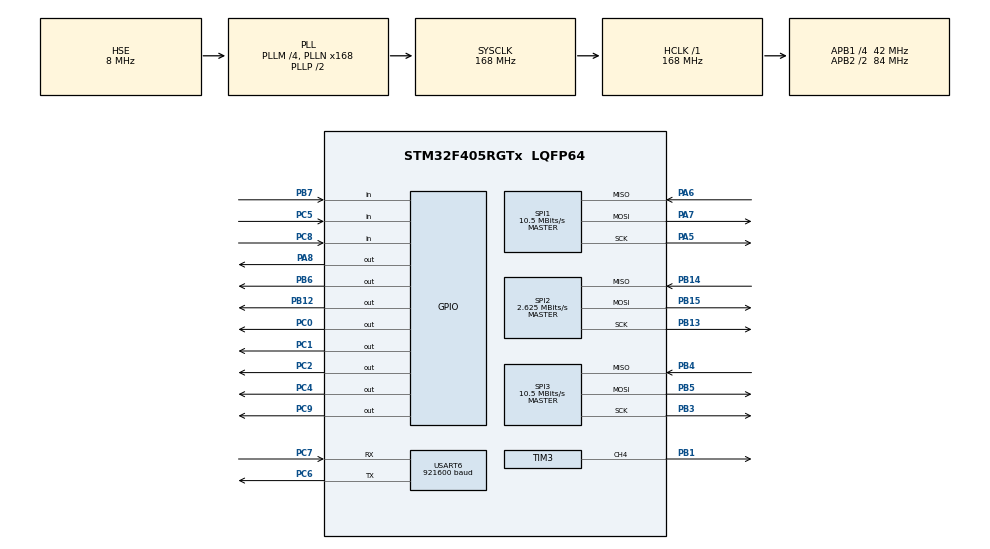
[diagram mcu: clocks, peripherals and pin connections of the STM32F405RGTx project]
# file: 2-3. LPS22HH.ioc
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Mcu.Family=STM32F4
Mcu.Name=STM32F405RGTx
Mcu.Package=LQFP64
NVIC.PriorityGroup=NVIC_PRIORITYGROUP_4
NVIC.USART6_IRQn=true\:0\:0\:false\:false\:true\:true\:true
PA5.Mode=Full_Duplex_Master
PA5.Signal=SPI1_SCK
PA6.Mode=Full_Duplex_Master
PA6.Signal=SPI1_MISO
PA7.Mode=Full_Duplex_Master
PA7.Signal=SPI1_MOSI
PA8.Signal=GPIO_Output
PB1.Signal=S_TIM3_CH4
PB12.Signal=GPIO_Output
PB13.Mode=Full_Duplex_Master
PB13.Signal=SPI2_SCK
PB14.Mode=Full_Duplex_Master
PB14.Signal=SPI2_MISO
PB15.Mode=Full_Duplex_Master
PB15.Signal=SPI2_MOSI
PB3.Mode=Full_Duplex_Master
PB3.Signal=SPI3_SCK
PB4.Mode=Full_Duplex_Master
PB4.Signal=SPI3_MISO
PB5.Mode=Full_Duplex_Master
PB5.Signal=SPI3_MOSI
PB6.Signal=GPIO_Output
PB7.Signal=GPIO_Input
PC0.Signal=GPIO_Output
PC1.Signal=GPIO_Output
PC2.Signal=GPIO_Output
PC4.Signal=GPIO_Output
PC5.Signal=GPIO_Input
PC6.Mode=Asynchronous
PC6.Signal=USART6_TX
PC7.Mode=Asynchronous
PC7.Signal=USART6_RX
PC8.Signal=GPIO_Input
PC9.Signal=GPIO_Output
PH0-OSC_IN.Mode=HSE-External-Oscillator
PH0-OSC_IN.Signal=RCC_OSC_IN
PH1-OSC_OUT.Mode=HSE-External-Oscillator
PH1-OSC_OUT.Signal=RCC_OSC_OUT
ProjectManager.HeapSize=0x200
ProjectManager.StackSize=0x400
ProjectManager.TargetToolchain=STM32CubeIDE
RCC.48MHZClocksFreq_Value=84000000
RCC.AHBFreq_Value=168000000
RCC.APB1CLKDivider=RCC_HCLK_DIV4
RCC.APB1Freq_Value=42000000
RCC.APB1TimFreq_Value=84000000
RCC.APB2CLKDivider=RCC_HCLK_DIV2
RCC.APB2Freq_Value=84000000
RCC.APB2TimFreq_Value=168000000
RCC.CortexFreq_Value=168000000
RCC.HCLKFreq_Value=168000000
RCC.HSE_VALUE=8000000
RCC.HSI_VALUE=16000000
RCC.LSE_VALUE=32768
RCC.PLLM=4
RCC.PLLN=168
RCC.PLLSourceVirtual=RCC_PLLSOURCE_HSE
RCC.SYSCLKFreq_VALUE=168000000
RCC.SYSCLKSource=RCC_SYSCLKSOURCE_PLLCLK
RCC.VCOOutputFreq_Value=336000000
SH.S_TIM3_CH4.0=TIM3_CH4,PWM Generation4 CH4
SPI1.BaudRatePrescaler=SPI_BAUDRATEPRESCALER_8
SPI1.CLKPhase=SPI_PHASE_2EDGE
SPI1.CLKPolarity=SPI_POLARITY_HIGH
SPI1.CalculateBaudRate=10.5 MBits/s
SPI1.Direction=SPI_DIRECTION_2LINES
SPI1.Mode=SPI_MODE_MASTER
SPI1.VirtualType=VM_MASTER
SPI2.BaudRatePrescaler=SPI_BAUDRATEPRESCALER_16
SPI2.CLKPhase=SPI_PHASE_2EDGE
SPI2.CLKPolarity=SPI_POLARITY_HIGH
SPI2.CalculateBaudRate=2.625 MBits/s
SPI2.Direction=SPI_DIRECTION_2LINES
SPI2.Mode=SPI_MODE_MASTER
SPI2.VirtualType=VM_MASTER
SPI3.BaudRatePrescaler=SPI_BAUDRATEPRESCALER_4
SPI3.CLKPhase=SPI_PHASE_2EDGE
SPI3.CLKPolarity=SPI_POLARITY_HIGH
SPI3.CalculateBaudRate=10.5 MBits/s
SPI3.Direction=SPI_DIRECTION_2LINES
SPI3.Mode=SPI_MODE_MASTER
SPI3.VirtualType=VM_MASTER
TIM3.AutoReloadPreload=TIM_AUTORELOAD_PRELOAD_ENABLE
TIM3.Channel-PWM\ Generation4\ CH4=TIM_CHANNEL_4
TIM3.OCFastMode_PWM-PWM\ Generation4\ CH4=TIM_OCFAST_ENABLE
TIM3.Period=20
TIM3.Prescaler=999
TIM3.Pulse-PWM\ Generation4\ CH4=10
USART6.BaudRate=921600
USART6.VirtualMode=VM_ASYNC
VP_TIM3_VS_ClockSourceINT.Mode=Internal
board=custom

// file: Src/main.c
/* USER CODE BEGIN Header */
/**
  ******************************************************************************
  * @file           : main.c
  * @brief          : Main program body
  ******************************************************************************
  * @attention
  *
  * <h2><center>&copy; Copyright (c) 2019 STMicroelectronics.
  * All rights reserved.</center></h2>
  *
  * This software component is licensed by ST under BSD 3-Clause license,
  * the "License"; You may not use this file except in compliance with the
  * License. You may obtain a copy of the License at:
  *                        opensource.org/licenses/BSD-3-Clause
  *
  ******************************************************************************
  */
/* USER CODE END Header */

#include "main.h"
#include "spi.h"
#include "tim.h"
#include "usart.h"
#include "gpio.h"

/* USER CODE BEGIN Includes */
#include "bno080.h"
#include "quaternion.h"
#include "icm20602.h"
#include "lps22hh.h"
/* USER CODE END Includes */

/* USER CODE BEGIN PTD */
int _write(int file, char* p, int len)
{
	for(int i=0;i<len;i++)
	{
		while(!LL_USART_IsActiveFlag_TXE(USART6));
		LL_USART_TransmitData8(USART6, *(p+i));
		//HAL_Delay(1);
	}
	return len;
}
/* USER CODE END PTD */

/* USER CODE BEGIN PV */
extern uint8_t uart6_rx_flag;
extern uint8_t uart6_rx_data;
/* USER CODE END PV */

void SystemClock_Config(void);

int main(void)
{
  /* USER CODE BEGIN 1 */

#define DEBUG_NO 1

	int count = 0;
	float f = 1.234;
	float q[4];
	float quatRadianAccuracy;
  /* USER CODE END 1 */

  /* MCU Configuration--------------------------------------------------------*/

  /* Reset of all peripherals, Initializes the Flash interface and the Systick. */
  HAL_Init();

  /* Configure the system clock */
  SystemClock_Config();

  /* Initialize all configured peripherals */
  MX_GPIO_Init();
  MX_TIM3_Init();
  MX_USART6_UART_Init();
  MX_SPI2_Init();
  MX_SPI1_Init();
  MX_SPI3_Init();
  /* USER CODE BEGIN 2 */
  LL_TIM_EnableCounter(TIM3);
  LL_TIM_CC_EnableChannel(TIM3, LL_TIM_CHANNEL_CH4);

  TIM3->PSC = 2000;
  HAL_Delay(100);
  TIM3->PSC = 1500;
  HAL_Delay(100);
  TIM3->PSC = 1000;
  HAL_Delay(100);

  LL_TIM_CC_DisableChannel(TIM3, LL_TIM_CHANNEL_CH4);

  LL_USART_EnableIT_RXNE(USART6);

  BNO080_Initialization();
  BNO080_enableRotationVector(2500);

  ICM20602_Initialization();
  LPS22HH_Initialization();

  /* USER CODE END 2 */

  /* Infinite loop */
  while (1)
  {

    /* USER CODE BEGIN 3 */
	  if(BNO080_dataAvailable() == 1)
	  {
		  LL_GPIO_TogglePin(GPIOC, LL_GPIO_PIN_0);

		  q[0] = BNO080_getQuatI();
		  q[1] = BNO080_getQuatJ();
		  q[2] = BNO080_getQuatK();
		  q[3] = BNO080_getQuatReal();
		  quatRadianAccuracy = BNO080_getQuatRadianAccuracy();

		  Quaternion_Update(&q[0]);
#if DEBUG_NO==1
		  printf("%d\t%d\t%d\n", (int)(BNO080_Roll*100), (int)(BNO080_Pitch*100), (int)(BNO080_Yaw*100));
		  //printf("%f\t%f\t%f\n", BNO080_Roll, BNO080_Pitch, BNO080_Yaw);
		  //printf("%d\t%d\n", (int)(BNO080_Roll*100), (int)(BNO080_Pitch*100));
#endif
	  }

	  if(ICM20602_DataReady() == 1)
	  {
		  LL_GPIO_TogglePin(GPIOC, LL_GPIO_PIN_1);

		  ICM20602_Get3AxisGyroRawData(&ICM20602.gyro_x_raw);

		  ICM20602.gyro_x = ICM20602.gyro_x_raw * 2000.f / 32768.f;
		  ICM20602.gyro_y = ICM20602.gyro_y_raw * 2000.f / 32768.f;
		  ICM20602.gyro_z = ICM20602.gyro_z_raw * 2000.f / 32768.f;

#if DEBUG_NO==2
		  printf("%d\t%d\t%d\n", ICM20602.gyro_x_raw, ICM20602.gyro_y_raw, ICM20602.gyro_z_raw);
		  //printf("%d,%d,%d\n", (int)(ICM20602.gyro_x*100), (int)(ICM20602.gyro_y*100), (int)(ICM20602.gyro_z*100));
#endif
	  }

	  if(LPS22HH_DataReady() == 1)
	  {
		  LL_GPIO_TogglePin(GPIOC, LL_GPIO_PIN_2);

		  LPS22HH_GetPressure(&LPS22HH.pressure_raw);
		  LPS22HH_GetTemperature(&LPS22HH.temperature_raw);

		  LPS22HH.baroAlt = getAltitude2(LPS22HH.pressure_raw/4096.f, LPS22HH.temperature_raw/100.f);

#define X 0.90f
		  LPS22HH.baroAltFilt = LPS22HH.baroAltFilt * X + LPS22HH.baroAlt * (1.0f - X);

#if DEBUG_NO==3
		  //printf("%d\t%d\n", (int)(LPS22HH.baroAlt*100), (int)(LPS22HH.baroAltFilt*100));
		  printf("%d\n", LPS22HH.pressure_raw);
		  //printf("%f,%f\n", (LPS22HH.baroAlt), (LPS22HH.baroAltFilt));
#endif
	  }
  }
  /* USER CODE END 3 */
}

void SystemClock_Config(void)
{
  RCC_OscInitTypeDef RCC_OscInitStruct = {0};
  RCC_ClkInitTypeDef RCC_ClkInitStruct = {0};

  /** Configure the main internal regulator output voltage
  */
  __HAL_RCC_PWR_CLK_ENABLE();
  __HAL_PWR_VOLTAGESCALING_CONFIG(PWR_REGULATOR_VOLTAGE_SCALE1);
  /** Initializes the CPU, AHB and APB busses clocks
  */
  RCC_OscInitStruct.OscillatorType = RCC_OSCILLATORTYPE_HSE;
  RCC_OscInitStruct.HSEState = RCC_HSE_ON;
  RCC_OscInitStruct.PLL.PLLState = RCC_PLL_ON;
  RCC_OscInitStruct.PLL.PLLSource = RCC_PLLSOURCE_HSE;
  RCC_OscInitStruct.PLL.PLLM = 4;
  RCC_OscInitStruct.PLL.PLLN = 168;
  RCC_OscInitStruct.PLL.PLLP = RCC_PLLP_DIV2;
  RCC_OscInitStruct.PLL.PLLQ = 4;
  if (HAL_RCC_OscConfig(&RCC_OscInitStruct) != HAL_OK)
  {
    Error_Handler();
  }
  /** Initializes the CPU, AHB and APB busses clocks
  */
  RCC_ClkInitStruct.ClockType = RCC_CLOCKTYPE_HCLK|RCC_CLOCKTYPE_SYSCLK
                              |RCC_CLOCKTYPE_PCLK1|RCC_CLOCKTYPE_PCLK2;
  RCC_ClkInitStruct.SYSCLKSource = RCC_SYSCLKSOURCE_PLLCLK;
  RCC_ClkInitStruct.AHBCLKDivider = RCC_SYSCLK_DIV1;
  RCC_ClkInitStruct.APB1CLKDivider = RCC_HCLK_DIV4;
  RCC_ClkInitStruct.APB2CLKDivider = RCC_HCLK_DIV2;

  if (HAL_RCC_ClockConfig(&RCC_ClkInitStruct, FLASH_LATENCY_5) != HAL_OK)
  {
    Error_Handler();
  }
}

void Error_Handler(void)
{
}

/************************ (C) COPYRIGHT STMicroelectronics *****END OF FILE****/
